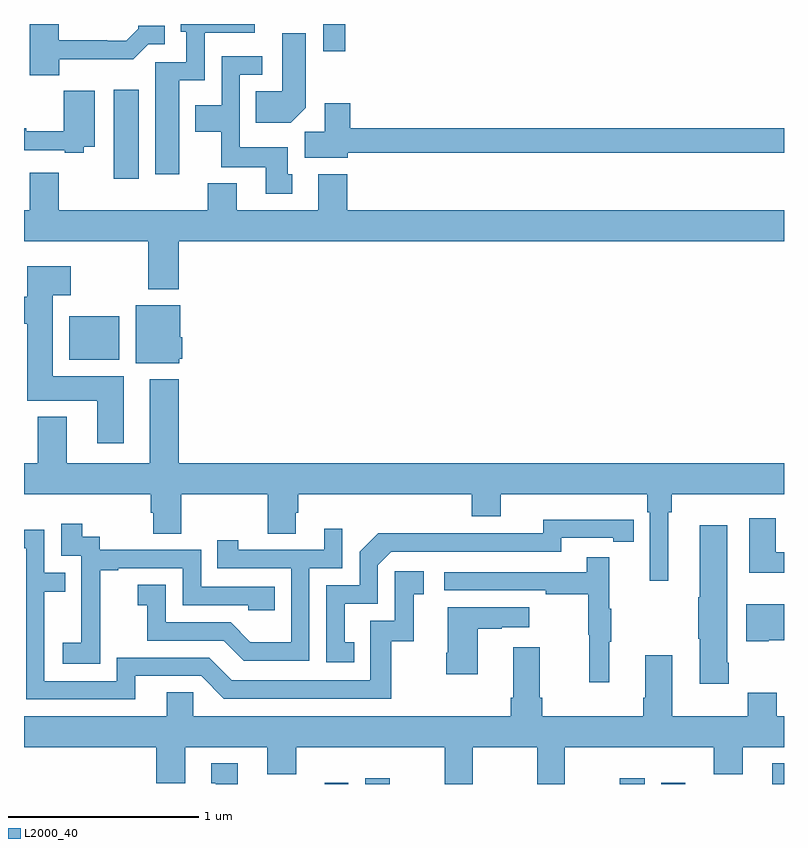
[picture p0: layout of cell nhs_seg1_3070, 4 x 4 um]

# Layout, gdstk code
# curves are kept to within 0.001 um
import gdstk
lib = gdstk.Library(unit=1e-6, precision=1e-09)
def R(c, l, rs):  # rectangles x0, y0, x1, y1
    for r in rs: c.add(gdstk.rectangle(r[:2], r[2:], *l))
def P(c, l, *ps):  # polygons
    for p in ps: c.add(gdstk.Polygon(p, *l))
L2000_40 = (2000, 40)

nhs_seg1_3070 = lib.new_cell('nhs_seg1_3070')
R(nhs_seg1_3070, L2000_40, [(278.582,558.199,278.707,558.205), (278.795,558.199,278.926,558.229), (280.136,558.199,280.267,558.229), (280.355,558.199,280.48,558.205), (280.937,558.199,281,558.307), (277.238,560.432,277.501,560.662), (277.472,561.384,277.603,561.853), (278.574,562.056,278.69,562.199), (277.319,562.198,277.459,562.199)])
P(nhs_seg1_3070, L2000_40, [(277.186,562.014),(277.575,562.014),(277.653,562.092),(277.741,562.092),(277.741,562.189),(277.602,562.189),(277.602,562.174),(277.538,562.11),(277.439,562.11),(277.439,562.113),(277.183,562.113),(277.183,562.199),(277.031,562.199),(277.031,561.929),(277.186,561.929)],
  [(277.816,561.902),(277.95,561.902),(277.95,562.154),(278.215,562.154),(278.215,562.199),(277.826,562.199),(277.826,562.158),(277.854,562.158),(277.854,561.999),(277.691,561.999),(277.691,561.408),(277.816,561.408)],
  [(278.482,561.758),(278.482,562.15),(278.36,562.15),(278.36,561.844),(278.221,561.844),(278.221,561.68),(278.404,561.68)],
  [(278.413,561.408),(278.389,561.408),(278.389,561.55),(278.136,561.55),(278.136,561.933),(278.254,561.933),(278.254,562.029),(278.04,562.029),(278.04,561.772),(277.901,561.772),(277.901,561.632),(278.038,561.632),(278.038,561.446),(278.273,561.446),(278.273,561.306),(278.413,561.306)],
  [(277.314,561.554),(277.372,561.554),(277.372,561.847),(277.21,561.847),(277.21,561.635),(277.012,561.635),(277.012,561.65),(277,561.65),(277,561.534),(277.214,561.534),(277.214,561.522),(277.314,561.522)],
  [(278.704,561.522),(281,561.522),(281,561.65),(278.717,561.65),(278.717,561.781),(278.582,561.781),(278.582,561.632),(278.477,561.632),(278.477,561.494),(278.704,561.494)],
  [(277.814,561.056),(281,561.056),(281,561.22),(278.702,561.22),(278.702,561.409),(278.549,561.409),(278.549,561.22),(278.119,561.22),(278.119,561.361),(277.967,561.361),(277.967,561.22),(277.183,561.22),(277.183,561.415),(277.031,561.415),(277.031,561.22),(277,561.22),(277,561.056),(277.654,561.056),(277.654,560.804),(277.814,560.804)],
  [(277.525,560.344),(277.15,560.344),(277.15,560.771),(277.246,560.771),(277.246,560.923),(277.016,560.923),(277.016,560.763),(277,560.763),(277,560.621),(277.016,560.621),(277.016,560.216),(277.385,560.216),(277.385,559.992),(277.525,559.992)],
  [(277.818,560.436),(277.834,560.436),(277.834,560.55),(277.822,560.55),(277.822,560.719),(277.589,560.719),(277.589,560.414),(277.818,560.414)],
  [(280.39,559.628),(280.409,559.628),(280.409,559.724),(281,559.724),(281,559.888),(277.814,559.888),(277.814,560.329),(277.661,560.329),(277.661,559.888),(277.225,559.888),(277.225,560.131),(277.073,560.131),(277.073,559.888),(277,559.888),(277,559.724),(277.667,559.724),(277.667,559.626),(277.679,559.626),(277.679,559.516),(277.827,559.516),(277.827,559.724),(278.284,559.724),(278.284,559.516),(278.431,559.516),(278.431,559.626),(278.444,559.626),(278.444,559.724),(279.356,559.724),(279.356,559.607),(279.508,559.607),(279.508,559.724),(280.28,559.724),(280.28,559.628),(280.293,559.628),(280.293,559.269),(280.39,559.269)],
  [(281,559.42),(280.957,559.42),(280.957,559.597),(280.817,559.597),(280.817,559.31),(281,559.31)],
  [(278.738,558.945),(278.689,558.945),(278.689,559.149),(278.862,559.149),(278.862,559.35),(278.934,559.422),(279.828,559.422),(279.828,559.494),(280.1,559.494),(280.1,559.474),(280.208,559.474),(280.208,559.59),(279.732,559.591),(279.732,559.518),(279.272,559.518),(279.272,559.52),(278.864,559.52),(278.766,559.422),(278.766,559.245),(278.592,559.245),(278.592,558.84),(278.738,558.84)],
  [(277.401,559.039),(277.4,559.039),(277.4,559.323),(277.495,559.323),(277.495,559.335),(277.836,559.335),(277.836,559.14),(278.181,559.14),(278.181,559.113),(278.321,559.113),(278.321,559.236),(277.932,559.236),(277.932,559.431),(277.398,559.431),(277.398,559.5),(277.306,559.5),(277.306,559.57),(277.197,559.57),(277.197,559.401),(277.302,559.401),(277.302,559.172),(277.301,559.172),(277.301,558.943),(277.203,558.943),(277.203,558.833),(277.401,558.833)],
  [(280.71,558.838),(280.702,558.838),(280.702,559.561),(280.556,559.561),(280.556,559.181),(280.549,559.181),(280.549,558.964),(280.556,558.964),(280.556,558.726),(280.71,558.726)],
  [(278.502,559.335),(278.676,559.335),(278.676,559.543),(278.579,559.543),(278.579,559.431),(278.128,559.431),(278.128,559.483),(278.017,559.483),(278.017,559.335),(278.406,559.335),(278.406,558.946),(278.192,558.946),(278.088,559.05),(277.746,559.05),(277.746,559.249),(277.599,559.249),(277.599,559.139),(277.648,559.139),(277.648,558.954),(278.051,558.954),(278.156,558.849),(278.502,558.849)],
  [(277.585,558.768),(277.932,558.768),(278.052,558.648),(278.932,558.648),(278.932,558.951),(279.05,558.951),(279.05,559.197),(279.103,559.197),(279.103,559.318),(278.952,559.318),(278.952,559.059),(278.823,559.059),(278.823,558.744),(278.094,558.744),(277.974,558.864),(277.488,558.864),(277.488,558.741),(277.107,558.741),(277.107,559.21),(277.217,559.21),(277.217,559.311),(277.107,559.311),(277.107,559.536),(277,559.536),(277,559.44),(277.011,559.44),(277.011,558.645),(277.585,558.645)],
  [(280.079,558.947),(280.09,558.947),(280.09,559.121),(280.079,559.121),(280.079,559.393),(279.961,559.393),(279.961,559.314),(279.213,559.314),(279.213,559.218),(279.745,559.218),(279.745,559.198),(279.969,559.198),(279.969,558.984),(279.976,558.984),(279.976,558.735),(280.079,558.735)],
  [(280.92,558.956),(281,558.956),(281,559.144),(280.802,559.144),(280.802,558.95),(280.92,558.95)],
  [(279.388,559.015),(279.515,559.015),(279.515,559.025),(279.658,559.025),(279.658,559.129),(279.23,559.129),(279.23,558.889),(279.223,558.889),(279.223,558.777),(279.388,558.777)],
  [(279.363,558.392),(279.7,558.392),(279.7,558.199),(279.847,558.199),(279.847,558.392),(280.631,558.392),(280.631,558.251),(280.783,558.251),(280.783,558.392),(281,558.392),(281,558.556),(280.961,558.556),(280.961,558.68),(280.81,558.68),(280.81,558.556),(280.411,558.556),(280.411,558.877),(280.271,558.877),(280.271,558.652),(280.259,558.652),(280.259,558.556),(279.728,558.556),(279.728,558.652),(279.715,558.652),(279.715,558.919),(279.575,558.919),(279.575,558.652),(279.563,558.652),(279.563,558.556),(277.89,558.556),(277.89,558.683),(277.751,558.683),(277.751,558.556),(277,558.556),(277,558.392),(277.697,558.392),(277.697,558.203),(277.849,558.203),(277.849,558.392),(278.279,558.392),(278.279,558.251),(278.432,558.251),(278.432,558.392),(279.215,558.392),(279.215,558.199),(279.363,558.199)],
  [(278.125,558.307),(277.985,558.307),(277.985,558.204),(278.009,558.204),(278.009,558.199),(278.125,558.199)])

lib.write_gds('nhs_seg1_3070.gds')
